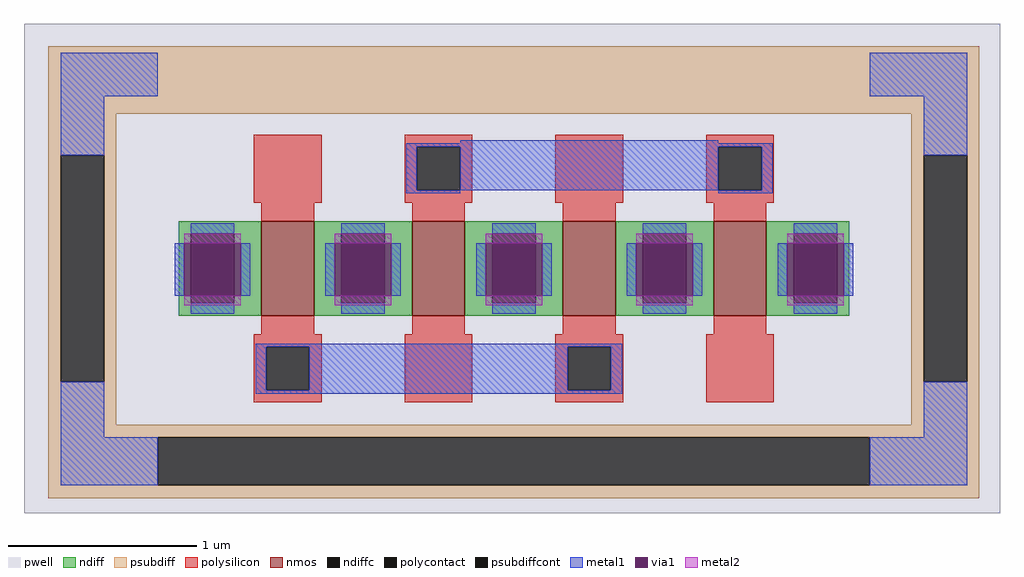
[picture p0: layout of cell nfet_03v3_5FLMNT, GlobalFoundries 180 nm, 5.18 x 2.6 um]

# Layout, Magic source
magic
tech gf180mcuD
magscale 1 10
<< pwell >>
rect -520 -260 516 260
<< nmos >>
rect -268 -50 -212 50
rect -108 -50 -52 50
rect 52 -50 108 50
rect 212 -50 268 50
<< ndiff >>
rect -356 37 -268 50
rect -356 -37 -343 37
rect -297 -37 -268 37
rect -356 -50 -268 -37
rect -212 37 -108 50
rect -212 -37 -183 37
rect -137 -37 -108 37
rect -212 -50 -108 -37
rect -52 37 52 50
rect -52 -37 -23 37
rect 23 -37 52 37
rect -52 -50 52 -37
rect 108 37 212 50
rect 108 -37 137 37
rect 183 -37 212 37
rect 108 -50 212 -37
rect 268 37 356 50
rect 268 -37 297 37
rect 343 -37 356 37
rect 268 -50 356 -37
<< ndiffc >>
rect -343 -37 -297 37
rect -183 -37 -137 37
rect -23 -37 23 37
rect 137 -37 183 37
rect 297 -37 343 37
<< psubdiff >>
rect -494 164 494 236
rect -494 120 -422 164
rect -494 -120 -481 120
rect -435 -120 -422 120
rect 422 120 494 164
rect -494 -166 -422 -120
rect 422 -120 435 120
rect 481 -120 494 120
rect 422 -166 494 -120
rect -494 -179 494 -166
rect -494 -230 -378 -179
rect 378 -230 494 -179
rect -494 -244 494 -230
<< psubdiffcont >>
rect -481 -120 -435 120
rect 435 -120 481 120
rect -378 -230 378 -179
<< polysilicon >>
rect -276 70 -204 142
rect -116 129 -44 142
rect -116 83 -103 129
rect -57 83 -44 129
rect -116 70 -44 83
rect 44 70 116 142
rect 204 129 276 142
rect 204 83 217 129
rect 263 83 276 129
rect 204 70 276 83
rect -268 50 -212 70
rect -108 50 -52 70
rect 52 50 108 70
rect 212 50 268 70
rect -268 -70 -212 -50
rect -108 -70 -52 -50
rect 52 -70 108 -50
rect 212 -70 268 -50
rect -276 -83 -204 -70
rect -276 -129 -263 -83
rect -217 -129 -204 -83
rect -276 -142 -204 -129
rect -116 -142 -44 -70
rect 44 -83 116 -70
rect 44 -129 57 -83
rect 103 -129 116 -83
rect 44 -142 116 -129
rect 204 -142 276 -70
<< polycontact >>
rect -103 83 -57 129
rect 217 83 263 129
rect -263 -129 -217 -83
rect 57 -129 103 -83
<< metal1 >>
rect -481 183 -378 229
rect 378 183 481 229
rect -481 120 -435 183
rect -57 133 217 136
rect -114 129 275 133
rect -114 83 -103 129
rect -57 83 217 129
rect 263 83 275 129
rect -114 80 -57 83
rect 217 80 275 83
rect 435 120 481 183
rect -343 37 -297 48
rect -183 37 -137 48
rect -23 37 23 48
rect 137 37 183 48
rect 297 37 343 48
rect -360 -29 -350 27
rect -290 -29 -280 27
rect -200 -29 -190 27
rect -130 -29 -120 27
rect -40 -29 -30 27
rect 30 -29 40 27
rect 120 -29 130 27
rect 190 -29 200 27
rect 280 -29 290 27
rect 350 -29 360 27
rect -343 -48 -297 -37
rect -183 -48 -137 -37
rect -23 -48 23 -37
rect 137 -48 183 -37
rect 297 -48 343 -37
rect -481 -179 -435 -120
rect -274 -83 115 -80
rect -274 -129 -263 -83
rect -217 -129 57 -83
rect 103 -129 115 -83
rect -274 -133 115 -129
rect 435 -179 481 -120
rect -481 -230 -378 -179
rect 378 -230 481 -179
<< via1 >>
rect -350 -29 -343 27
rect -343 -29 -297 27
rect -297 -29 -290 27
rect -190 -29 -183 27
rect -183 -29 -137 27
rect -137 -29 -130 27
rect -30 -29 -23 27
rect -23 -29 23 27
rect 23 -29 30 27
rect 130 -29 137 27
rect 137 -29 183 27
rect 183 -29 190 27
rect 290 -29 297 27
rect 297 -29 343 27
rect 343 -29 350 27
<< metal2 >>
rect -350 27 -290 37
rect -350 -39 -290 -29
rect -190 27 -130 37
rect -190 -39 -130 -29
rect -30 27 30 37
rect -30 -39 30 -29
rect 130 27 190 37
rect 130 -39 190 -29
rect 290 27 350 37
rect 290 -39 350 -29
<< properties >>
string FIXED_BBOX -458 -200 458 200
string gencell nfet_03v3
string library gf180mcu
string nfet_03v3_5FLMNT parameters
string parameters w 0.5 l 0.280 m 1 nf 4 diffcov 100 polycov 100 guard 1 glc 1 grc 1 gtc 1 gbc 1 tbcov 100 rlcov 100 topc 1 botc 1 poverlap 0 doverlap 1 lmin 0.28 wmin 0.22 class mosfet full_metal 1 compatible {nfet_03v3 nfet_06v0 nfet_06v0_nvt}
<< end >>
